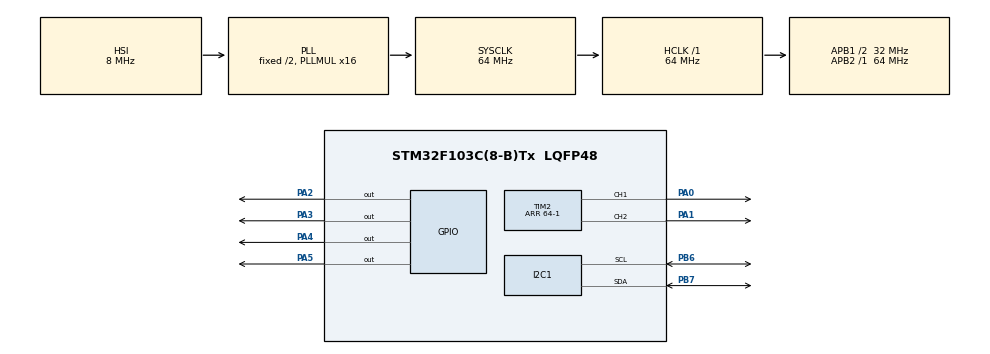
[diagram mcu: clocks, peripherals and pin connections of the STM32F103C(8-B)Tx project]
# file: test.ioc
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Dma.Request0=TIM2_CH2/CH4
Dma.TIM2_CH2/CH4.0.Direction=DMA_MEMORY_TO_PERIPH
Dma.TIM2_CH2/CH4.0.Instance=DMA1_Channel7
Dma.TIM2_CH2/CH4.0.MemDataAlignment=DMA_MDATAALIGN_HALFWORD
Dma.TIM2_CH2/CH4.0.MemInc=DMA_MINC_ENABLE
Dma.TIM2_CH2/CH4.0.Mode=DMA_NORMAL
Dma.TIM2_CH2/CH4.0.PeriphDataAlignment=DMA_PDATAALIGN_HALFWORD
Dma.TIM2_CH2/CH4.0.PeriphInc=DMA_PINC_DISABLE
Dma.TIM2_CH2/CH4.0.Priority=DMA_PRIORITY_LOW
Mcu.Family=STM32F1
Mcu.Name=STM32F103C(8-B)Tx
Mcu.Package=LQFP48
NVIC.DMA1_Channel7_IRQn=true\:0\:0\:false\:false\:true\:false\:true\:true
NVIC.PriorityGroup=NVIC_PRIORITYGROUP_4
PA0-WKUP.Signal=S_TIM2_CH1_ETR
PA1.Signal=S_TIM2_CH2
PA2.Signal=GPIO_Output
PA3.Signal=GPIO_Output
PA4.Signal=GPIO_Output
PA5.Signal=GPIO_Output
PB6.Mode=I2C
PB6.Signal=I2C1_SCL
PB7.Mode=I2C
PB7.Signal=I2C1_SDA
ProjectManager.HeapSize=0x200
ProjectManager.StackSize=0x400
ProjectManager.TargetToolchain=STM32CubeIDE
RCC.ADCPresc=RCC_ADCPCLK2_DIV6
RCC.AHBFreq_Value=64000000
RCC.APB1CLKDivider=RCC_HCLK_DIV2
RCC.APB1Freq_Value=32000000
RCC.APB1TimFreq_Value=64000000
RCC.APB2Freq_Value=64000000
RCC.APB2TimFreq_Value=64000000
RCC.HCLKFreq_Value=64000000
RCC.PLLMUL=RCC_PLL_MUL16
RCC.SYSCLKFreq_VALUE=64000000
RCC.SYSCLKSource=RCC_SYSCLKSOURCE_PLLCLK
RCC.USBFreq_Value=64000000
SH.S_TIM2_CH1_ETR.0=TIM2_CH1,PWM Generation1 CH1
SH.S_TIM2_CH2.0=TIM2_CH2,PWM Generation2 CH2
TIM2.Channel-PWM\ Generation1\ CH1=TIM_CHANNEL_1
TIM2.Channel-PWM\ Generation2\ CH2=TIM_CHANNEL_2
TIM2.Period=64-1
VP_TIM2_VS_ClockSourceINT.Mode=Internal
board=custom

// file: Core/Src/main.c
/* USER CODE BEGIN Header */
/**
  ******************************************************************************
  * @file           : main.c
  * @brief          : Main program body
  ******************************************************************************
  * @attention
  *
  * Copyright (c) 2023 STMicroelectronics.
  * All rights reserved.
  *
  * This software is licensed under terms that can be found in the LICENSE file
  * in the root directory of this software component.
  * If no LICENSE file comes with this software, it is provided AS-IS.
  *
  ******************************************************************************
  */
/* USER CODE END Header */
#include <ws2813b_controller.h>
#include "main.h"

I2C_HandleTypeDef hi2c1;

TIM_HandleTypeDef htim2;
DMA_HandleTypeDef hdma_tim2_ch2_ch4;

void SystemClock_Config(void);
static void MX_GPIO_Init(void);
static void MX_DMA_Init(void);
static void MX_I2C1_Init(void);
static void MX_TIM2_Init(void);

/* USER CODE BEGIN 0 */
void HAL_TIM_PWM_PulseFinishedCallback(TIM_HandleTypeDef *htim)
{
	HAL_TIM_PWM_Stop_DMA(&htim2, TIM_CHANNEL_2);
	datasentflag=1;
}
/* USER CODE END 0 */

int main(void)
{

  /* MCU Configuration--------------------------------------------------------*/

  /* Reset of all peripherals, Initializes the Flash interface and the Systick. */
  HAL_Init();

  /* Configure the system clock */
  SystemClock_Config();

  /* Initialize all configured peripherals */
  MX_GPIO_Init();
  MX_DMA_Init();
  MX_I2C1_Init();
  MX_TIM2_Init();
  /* USER CODE BEGIN 2 */
  Set_LED(0, 255, 0, 0);
  Set_LED(1, 0, 255, 0);
  Set_LED(2, 0, 0, 255);

  Set_LED(3, 46, 89, 128);

  Set_LED(4, 156, 233, 100);
  /* USER CODE END 2 */

  /* Infinite loop */
  /* USER CODE BEGIN WHILE */
  while (1)
  {
	  for (int i=0; i<46; i++)
	  {
		  Set_Brightness(i);
		  WS2813_Send(htim2);
		  HAL_Delay (50);
	  }

	  for (int i=45; i>=0; i--)
	  {
		  Set_Brightness(i);
		  WS2813_Send(htim2);
		  HAL_Delay (50);
	  }
    /* USER CODE END WHILE */

  }
}

void SystemClock_Config(void)
{
  RCC_OscInitTypeDef RCC_OscInitStruct = {0};
  RCC_ClkInitTypeDef RCC_ClkInitStruct = {0};

  /** Initializes the RCC Oscillators according to the specified parameters
  * in the RCC_OscInitTypeDef structure.
  */
  RCC_OscInitStruct.OscillatorType = RCC_OSCILLATORTYPE_HSI;
  RCC_OscInitStruct.HSIState = RCC_HSI_ON;
  RCC_OscInitStruct.HSICalibrationValue = RCC_HSICALIBRATION_DEFAULT;
  RCC_OscInitStruct.PLL.PLLState = RCC_PLL_ON;
  RCC_OscInitStruct.PLL.PLLSource = RCC_PLLSOURCE_HSI_DIV2;
  RCC_OscInitStruct.PLL.PLLMUL = RCC_PLL_MUL16;
  if (HAL_RCC_OscConfig(&RCC_OscInitStruct) != HAL_OK)
  {
    Error_Handler();
  }

  /** Initializes the CPU, AHB and APB buses clocks
  */
  RCC_ClkInitStruct.ClockType = RCC_CLOCKTYPE_HCLK|RCC_CLOCKTYPE_SYSCLK
                              |RCC_CLOCKTYPE_PCLK1|RCC_CLOCKTYPE_PCLK2;
  RCC_ClkInitStruct.SYSCLKSource = RCC_SYSCLKSOURCE_PLLCLK;
  RCC_ClkInitStruct.AHBCLKDivider = RCC_SYSCLK_DIV1;
  RCC_ClkInitStruct.APB1CLKDivider = RCC_HCLK_DIV2;
  RCC_ClkInitStruct.APB2CLKDivider = RCC_HCLK_DIV1;

  if (HAL_RCC_ClockConfig(&RCC_ClkInitStruct, FLASH_LATENCY_2) != HAL_OK)
  {
    Error_Handler();
  }
}

static void MX_I2C1_Init(void)
{

  hi2c1.Instance = I2C1;
  hi2c1.Init.ClockSpeed = 100000;
  hi2c1.Init.DutyCycle = I2C_DUTYCYCLE_2;
  hi2c1.Init.OwnAddress1 = 0;
  hi2c1.Init.AddressingMode = I2C_ADDRESSINGMODE_7BIT;
  hi2c1.Init.DualAddressMode = I2C_DUALADDRESS_DISABLE;
  hi2c1.Init.OwnAddress2 = 0;
  hi2c1.Init.GeneralCallMode = I2C_GENERALCALL_DISABLE;
  hi2c1.Init.NoStretchMode = I2C_NOSTRETCH_DISABLE;
  if (HAL_I2C_Init(&hi2c1) != HAL_OK)
  {
    Error_Handler();
  }

}

static void MX_TIM2_Init(void)
{

  TIM_ClockConfigTypeDef sClockSourceConfig = {0};
  TIM_MasterConfigTypeDef sMasterConfig = {0};
  TIM_OC_InitTypeDef sConfigOC = {0};

  htim2.Instance = TIM2;
  htim2.Init.Prescaler = 0;
  htim2.Init.CounterMode = TIM_COUNTERMODE_UP;
  htim2.Init.Period = 64-1;
  htim2.Init.ClockDivision = TIM_CLOCKDIVISION_DIV1;
  htim2.Init.AutoReloadPreload = TIM_AUTORELOAD_PRELOAD_DISABLE;
  if (HAL_TIM_Base_Init(&htim2) != HAL_OK)
  {
    Error_Handler();
  }
  sClockSourceConfig.ClockSource = TIM_CLOCKSOURCE_INTERNAL;
  if (HAL_TIM_ConfigClockSource(&htim2, &sClockSourceConfig) != HAL_OK)
  {
    Error_Handler();
  }
  if (HAL_TIM_PWM_Init(&htim2) != HAL_OK)
  {
    Error_Handler();
  }
  sMasterConfig.MasterOutputTrigger = TIM_TRGO_RESET;
  sMasterConfig.MasterSlaveMode = TIM_MASTERSLAVEMODE_DISABLE;
  if (HAL_TIMEx_MasterConfigSynchronization(&htim2, &sMasterConfig) != HAL_OK)
  {
    Error_Handler();
  }
  sConfigOC.OCMode = TIM_OCMODE_PWM1;
  sConfigOC.Pulse = 0;
  sConfigOC.OCPolarity = TIM_OCPOLARITY_HIGH;
  sConfigOC.OCFastMode = TIM_OCFAST_DISABLE;
  if (HAL_TIM_PWM_ConfigChannel(&htim2, &sConfigOC, TIM_CHANNEL_1) != HAL_OK)
  {
    Error_Handler();
  }
  if (HAL_TIM_PWM_ConfigChannel(&htim2, &sConfigOC, TIM_CHANNEL_2) != HAL_OK)
  {
    Error_Handler();
  }
  HAL_TIM_MspPostInit(&htim2);

}

static void MX_DMA_Init(void)
{

  /* DMA controller clock enable */
  __HAL_RCC_DMA1_CLK_ENABLE();

  /* DMA interrupt init */
  /* DMA1_Channel7_IRQn interrupt configuration */
  HAL_NVIC_SetPriority(DMA1_Channel7_IRQn, 0, 0);
  HAL_NVIC_EnableIRQ(DMA1_Channel7_IRQn);

}

static void MX_GPIO_Init(void)
{
  GPIO_InitTypeDef GPIO_InitStruct = {0};

  /* GPIO Ports Clock Enable */
  __HAL_RCC_GPIOA_CLK_ENABLE();
  __HAL_RCC_GPIOB_CLK_ENABLE();

  /*Configure GPIO pin Output Level */
  HAL_GPIO_WritePin(GPIOA, GPIO_PIN_2|GPIO_PIN_3|GPIO_PIN_4|GPIO_PIN_5, GPIO_PIN_RESET);

  /*Configure GPIO pins : PA2 PA3 PA4 PA5 */
  GPIO_InitStruct.Pin = GPIO_PIN_2|GPIO_PIN_3|GPIO_PIN_4|GPIO_PIN_5;
  GPIO_InitStruct.Mode = GPIO_MODE_OUTPUT_PP;
  GPIO_InitStruct.Pull = GPIO_NOPULL;
  GPIO_InitStruct.Speed = GPIO_SPEED_FREQ_LOW;
  HAL_GPIO_Init(GPIOA, &GPIO_InitStruct);

}

void Error_Handler(void)
{
  __disable_irq();
  while (1)
  {
  }
}
